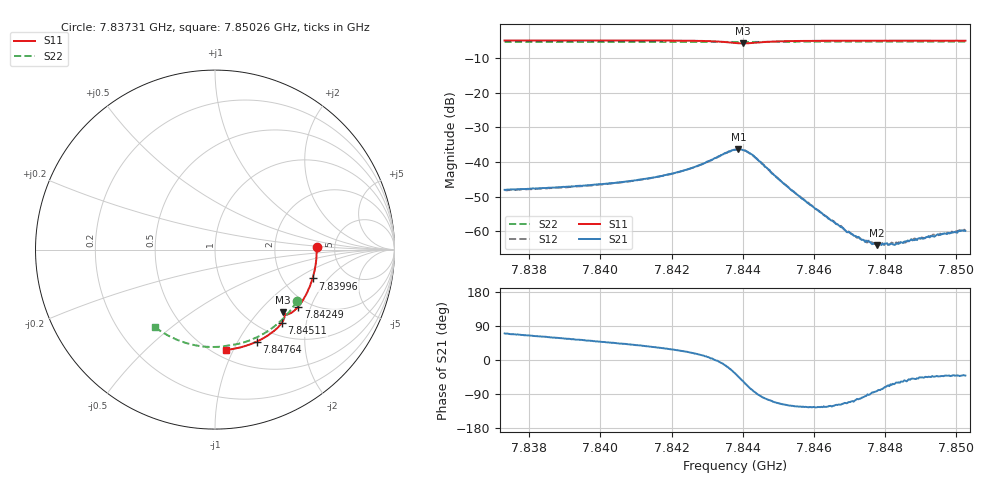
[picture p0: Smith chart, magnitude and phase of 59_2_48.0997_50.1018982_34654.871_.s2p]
#  HZ  S  RI  R  50.00
! Rohde & Schwarz Vector Network Analyzer
! Rohde-Schwarz,ZNB20-2Port,1311601062101988,3.16
! Created: UTC 12/23/2023, 3:40:34 AM
! freq[Hz]  re:S11  im:S11  re:S21  im:S21  re:S12  im:S12  re:S22  im:S22
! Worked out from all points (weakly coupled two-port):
!   401 points, 7.83731 GHz to 7.85026 GHz, reference 50 ohm
!   highest |S21| = -36.32 dB at 7.84388 GHz (marker M1); lowest = -64.0 dB at 7.84777 GHz (marker M2)
!   lowest |S11| = -5.8 dB at 7.84401 GHz (marker M3), VSWR 3.12, Z = 72 - j68.5 ohm
!   |S11| at or under -10 dB: nowhere
!   |S22| runs from -5.4 to -5.3 dB; largest |S21 - S12| = 0.00027
!   S11 on the Smith chart (normalised r, x): 7.83731 GHz: 3.61, +0.15; 7.83996 GHz: 2.90, -1.37; 7.84249 GHz: 1.76, -1.64; 7.84511 GHz: 1.24, -1.46; 7.84764 GHz: 0.80, -1.20; 7.85026 GHz: 0.57, -0.94
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7.837308e9  0.5663 0.0145  0.00134 0.00373  0.00139 0.00365  0.456 -0.2889
7.839477e9  0.5523 -0.1291  0.00272 0.00361  0.00273 0.00356  0.3583 -0.4048
7.839963e9  0.5438 -0.1607  0.00314 0.00359  0.00313 0.00358  0.3321 -0.4266
7.841647e9  0.4988 -0.2667  0.00521 0.00331  0.00518 0.00331  0.2321 -0.4891
7.842489e9  0.4642 -0.3172  0.00744 0.00279  0.00744 0.00277  0.1772 -0.5116
7.843298e9  0.4151 -0.3577  0.0119 -0.000463  0.0118 -0.000478  0.1223 -0.5266
7.843784e9  0.38 -0.3574  0.0124 -0.00857  0.0123 -0.00849  0.0896 -0.5316
7.843881e9  0.3771 -0.3539  0.0109 -0.0107  0.011 -0.0106  0.0835 -0.5325
7.844011e9  0.3771 -0.3499  0.0083 -0.0122  0.00826 -0.0124  0.0754 -0.5337
7.844334e9  0.3862 -0.3557  0.00121 -0.0117  0.00121 -0.0118  0.0546 -0.5375
7.845112e9  0.3724 -0.4081  -0.00229 -0.00454  -0.0023 -0.00459  0.00024 -0.5428
7.845954e9  0.3301 -0.4523  -0.00132 -0.0019  -0.00133 -0.00192  -0.0592 -0.5405
7.846893e9  0.2769 -0.4895  -0.000408 -0.00094  -0.00043 -0.000946  -0.1243 -0.5302
7.847152e9  0.2614 -0.4982  -0.000247 -0.000821  -0.000275 -0.000824  -0.1419 -0.5256
7.847443e9  0.2438 -0.5072  -6.51e-05 -0.000697  -9.29e-05 -0.000729  -0.1617 -0.5202
7.847637e9  0.232 -0.5129  4.98e-05 -0.00065  2.88e-05 -0.000693  -0.1746 -0.516
7.847767e9  0.224 -0.5165  8.48e-05 -0.000624  0.000119 -0.00066  -0.1834 -0.5131
7.848026e9  0.2079 -0.5232  0.00022 -0.000625  0.000193 -0.000579  -0.2005 -0.5068
7.848123e9  0.2019 -0.5256  0.000231 -0.000605  0.000241 -0.000592  -0.2069 -0.5044
7.848317e9  0.1894 -0.5301  0.000342 -0.000576  0.000325 -0.000612  -0.2194 -0.4992
7.849353e9  0.1231 -0.5493  0.000609 -0.000589  0.000666 -0.000601  -0.2839 -0.4661
7.85026e9  0.0637 -0.5591  0.000766 -0.000668  0.000754 -0.000696  -0.3365 -0.4303
